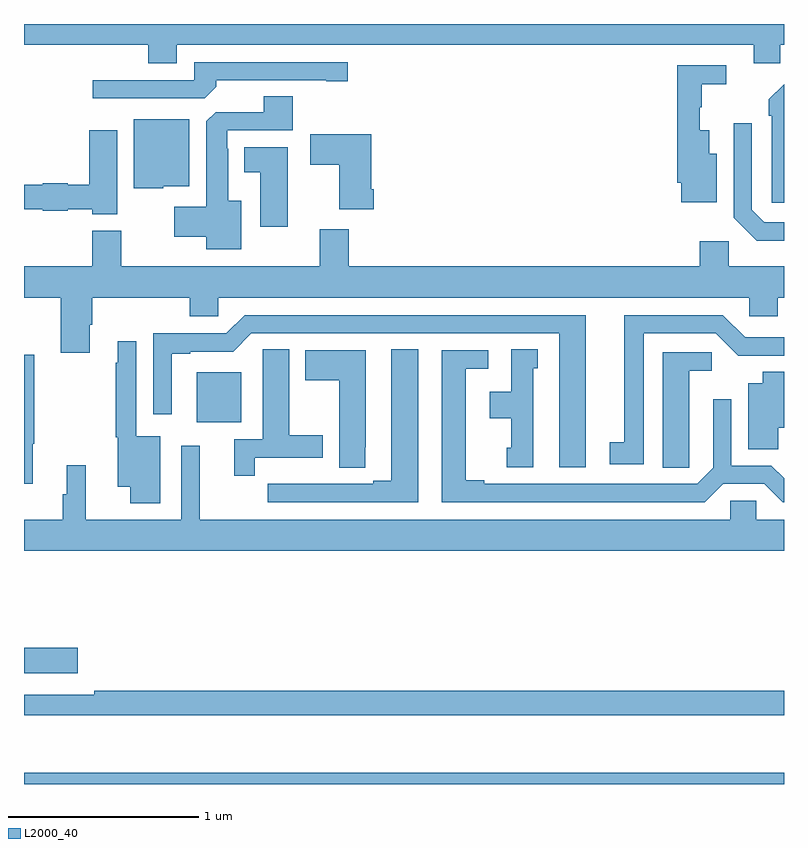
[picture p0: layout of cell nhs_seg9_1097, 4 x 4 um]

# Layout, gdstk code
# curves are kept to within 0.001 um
import gdstk
lib = gdstk.Library(unit=1e-6, precision=1e-09)
def R(c, l, rs):  # rectangles x0, y0, x1, y1
    for r in rs: c.add(gdstk.rectangle(r[:2], r[2:], *l))
def P(c, l, *ps):  # polygons
    for p in ps: c.add(gdstk.Polygon(p, *l))
L2000_40 = (2000, 40)

nhs_seg9_1097 = lib.new_cell('nhs_seg9_1097')
R(nhs_seg9_1097, L2000_40, [(171,1220.5,175,1220.56), (171,1221.083,171.283,1221.218), (171.908,1222.403,172.144,1222.666)])
P(nhs_seg9_1097, L2000_40, [(171.805,1224.392),(174.842,1224.392),(174.842,1224.294),(174.981,1224.294),(174.981,1224.392),(175,1224.392),(175,1224.5),(171,1224.5),(171,1224.392),(171.653,1224.392),(171.653,1224.293),(171.805,1224.293)],
  [(172.013,1224.17),(172.013,1224.204),(172.592,1224.204),(172.592,1224.199),(172.705,1224.199),(172.705,1224.3),(171.897,1224.3),(171.897,1224.204),(171.363,1224.204),(171.363,1224.108),(171.951,1224.108)],
  [(174.646,1223.818),(174.607,1223.818),(174.607,1223.941),(174.557,1223.941),(174.557,1224.063),(174.568,1224.063),(174.568,1224.184),(174.697,1224.184),(174.697,1224.282),(174.439,1224.282),(174.439,1223.665),(174.458,1223.665),(174.458,1223.561),(174.646,1223.561)],
  [(175,1224.184),(174.921,1224.105),(174.921,1224.017),(174.936,1224.017),(174.936,1223.559),(175,1223.559)],
  [(172.144,1223.569),(172.075,1223.569),(172.075,1223.843),(172.071,1223.843),(172.071,1223.94),(172.415,1223.94),(172.415,1224.119),(172.262,1224.119),(172.262,1224.036),(172.008,1224.036),(171.959,1223.987),(171.959,1223.539),(171.792,1223.539),(171.792,1223.381),(171.959,1223.381),(171.959,1223.315),(172.144,1223.315)],
  [(171.732,1223.645),(171.871,1223.645),(171.871,1223.998),(171.578,1223.998),(171.578,1223.636),(171.732,1223.636)],
  [(175,1223.457),(174.897,1223.457),(174.831,1223.523),(174.831,1223.977),(174.735,1223.977),(174.735,1223.481),(174.856,1223.36),(175,1223.36)],
  [(171.49,1223.941),(171.344,1223.941),(171.344,1223.655),(171.23,1223.655),(171.23,1223.662),(171.099,1223.662),(171.099,1223.654),(171,1223.654),(171,1223.526),(171.099,1223.526),(171.099,1223.518),(171.23,1223.518),(171.23,1223.525),(171.36,1223.525),(171.36,1223.498),(171.49,1223.498)],
  [(172.841,1223.629),(172.828,1223.629),(172.828,1223.92),(172.506,1223.92),(172.506,1223.758),(172.658,1223.758),(172.658,1223.525),(172.841,1223.525)],
  [(172.387,1223.851),(172.16,1223.851),(172.16,1223.72),(172.244,1223.72),(172.244,1223.433),(172.387,1223.433)],
  [(171.346,1222.918),(171.359,1222.918),(171.359,1223.06),(171.872,1223.06),(171.872,1222.962),(172.023,1222.962),(172.023,1223.06),(174.816,1223.06),(174.816,1222.962),(174.968,1222.962),(174.968,1223.06),(175,1223.06),(175,1223.224),(174.708,1223.224),(174.708,1223.356),(174.557,1223.356),(174.557,1223.224),(172.709,1223.224),(172.709,1223.419),(172.556,1223.419),(172.556,1223.224),(171.511,1223.224),(171.511,1223.413),(171.359,1223.413),(171.359,1223.224),(171,1223.224),(171,1223.06),(171.194,1223.06),(171.194,1222.77),(171.346,1222.77)],
  [(174.262,1222.872),(174.642,1222.872),(174.76,1222.754),(175,1222.755),(175,1222.851),(174.795,1222.851),(174.678,1222.968),(174.158,1222.968),(174.158,1222.298),(174.084,1222.298),(174.084,1222.182),(174.262,1222.182)],
  [(173.956,1222.968),(172.161,1222.968),(172.065,1222.872),(171.681,1222.872),(171.681,1222.446),(171.778,1222.446),(171.778,1222.764),(171.874,1222.764),(171.874,1222.776),(172.101,1222.776),(172.197,1222.872),(173.816,1222.872),(173.816,1222.167),(173.956,1222.167)],
  [(171.718,1222.33),(171.591,1222.33),(171.591,1222.831),(171.494,1222.831),(171.494,1222.718),(171.483,1222.718),(171.483,1222.326),(171.494,1222.326),(171.494,1222.064),(171.56,1222.064),(171.56,1221.978),(171.718,1221.978)],
  [(173.074,1222.787),(172.934,1222.787),(172.934,1222.095),(172.838,1222.095),(172.838,1222.08),(172.562,1222.08),(172.562,1222.081),(172.396,1222.081),(172.396,1222.08),(172.284,1222.08),(172.284,1221.984),(173.074,1221.984)],
  [(172.214,1222.218),(172.573,1222.218),(172.573,1222.335),(172.396,1222.335),(172.396,1222.787),(172.257,1222.787),(172.257,1222.676),(172.256,1222.676),(172.256,1222.314),(172.106,1222.314),(172.106,1222.122),(172.214,1222.122)],
  [(173.68,1222.689),(173.704,1222.689),(173.704,1222.787),(173.564,1222.787),(173.564,1222.564),(173.45,1222.564),(173.45,1222.424),(173.564,1222.424),(173.564,1222.269),(173.54,1222.269),(173.54,1222.167),(173.68,1222.167)],
  [(172.797,1222.273),(172.798,1222.273),(172.798,1222.783),(172.481,1222.783),(172.481,1222.624),(172.658,1222.624),(172.658,1222.165),(172.797,1222.165)],
  [(174.679,1222.08),(174.897,1222.08),(174.993,1221.984),(175,1221.984),(175,1222.109),(174.933,1222.176),(174.723,1222.176),(174.723,1222.525),(174.627,1222.525),(174.627,1222.164),(174.543,1222.08),(173.422,1222.08),(173.422,1222.1),(173.326,1222.1),(173.326,1222.686),(173.443,1222.686),(173.443,1222.782),(173.198,1222.782),(173.198,1221.984),(174.583,1221.984)],
  [(174.501,1222.273),(174.502,1222.273),(174.502,1222.676),(174.619,1222.676),(174.619,1222.773),(174.362,1222.773),(174.362,1222.165),(174.501,1222.165)],
  [(171.046,1222.292),(171.054,1222.292),(171.054,1222.759),(171,1222.759),(171,1222.08),(171.046,1222.08)],
  [(174.97,1222.376),(175,1222.376),(175,1222.67),(174.887,1222.67),(174.887,1222.609),(174.812,1222.609),(174.812,1222.261),(174.97,1222.261)],
  [(175,1221.892),(174.855,1221.892),(174.855,1221.99),(174.717,1221.99),(174.717,1221.892),(171.926,1221.892),(171.926,1222.279),(171.828,1222.279),(171.828,1221.892),(171.324,1221.892),(171.324,1222.177),(171.224,1222.177),(171.224,1222.026),(171.205,1222.026),(171.205,1221.892),(171,1221.892),(171,1221.728),(175,1221.728)],
  [(175,1220.99),(171.37,1220.99),(171.37,1220.97),(171,1220.97),(171,1220.862),(175,1220.862)])

lib.write_gds('nhs_seg9_1097.gds')
